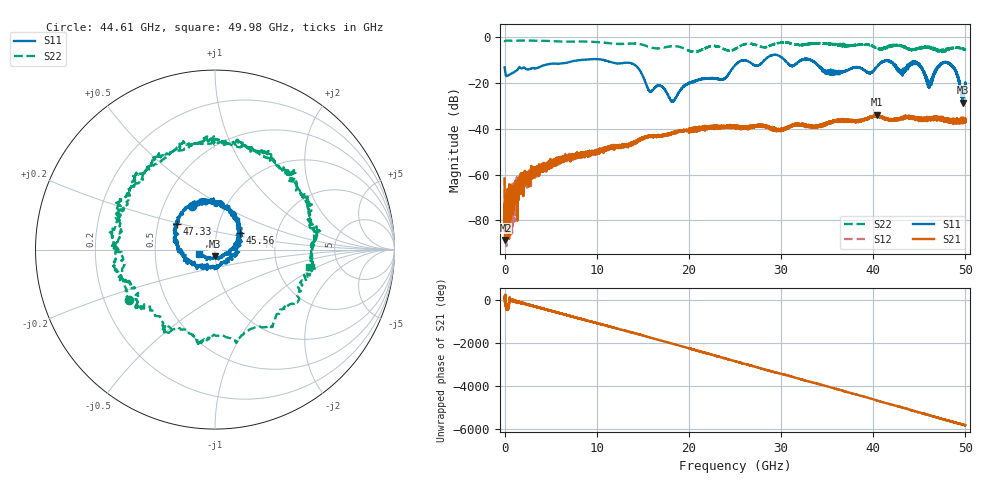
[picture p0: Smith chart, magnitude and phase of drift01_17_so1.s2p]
!Created with skrf (http://scikit-rf.org).
# Hz S RI R 50.0
!freq ReS11 ImS11 ReS21 ImS21 ReS12 ImS12 ReS22 ImS22
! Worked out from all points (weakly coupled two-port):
!   10001 points, 300 kHz to 50 GHz, reference 50 ohm
!   highest |S21| = -33.79 dB at 40.39 GHz (marker M1); lowest = -88.7 dB at 95.3 MHz (marker M2)
!   lowest |S11| = -28.5 dB at 49.72 GHz (marker M3), VSWR 1.08, Z = 50 - j3.76 ohm
!   |S11| at or under -10 dB: start of sweep to 8.049 GHz; 10.87 GHz to 25.99 GHz (15.12 GHz wide, 82.1 % of centre); 33.27 GHz to end of sweep (the widest 3 of 13)
!   |S22| runs from -6.5 to -1.4 dB; largest |S21 - S12| = 0.0046
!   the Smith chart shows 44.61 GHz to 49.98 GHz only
!   S11 on the Smith chart (normalised r, x): 44.61 GHz: 0.69, +0.36; 45.56 GHz: 1.30, +0.24; 47.33 GHz: 0.63, +0.19; 49.98 GHz: 0.84, -0.04
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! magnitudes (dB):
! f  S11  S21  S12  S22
! 300 kHz  -13.1  -61.9  -61.1  -2.1
! 95.3 MHz  -16.2  -88.7  -75.8  -1.5
! 275.3 MHz  -16.9  -71.2  -78.8  -1.4
! 3.13 GHz  -13.4  -59.0  -58.9  -1.4
! 8.335 GHz  -9.9  -50.6  -51.9  -1.8
! 13.78 GHz  -11.4  -47.2  -47.4  -2.7
! 15.73 GHz  -23.5  -43.5  -43.2  -4.3
! 16.67 GHz  -21.1  -42.9  -43.2  -4.8
! 18.25 GHz  -27.9  -42.0  -42.0  -3.9
! 25 GHz  -12.2  -38.5  -39.4  -5.1
! 33.34 GHz  -10.2  -38.9  -39.1  -2.6
! 35.11 GHz  -15.1  -37.7  -37.4  -2.8
! 40.39 GHz  -12.8  -33.8  -34.4  -4.8
! 41.67 GHz  -10.5  -36.2  -36.2  -4.3
! 44.61 GHz  -11.3  -35.0  -35.4  -5.1
! 45.56 GHz  -15.6  -35.7  -35.8  -4.2
! 46.14 GHz  -20.5  -35.5  -35.1  -4.4
! 47.33 GHz  -11.9  -35.3  -36.0  -6.4
! 48.7 GHz  -13.3  -36.4  -36.7  -4.6
! 49.72 GHz  -28.5  -35.9  -36.1  -5.1
! 49.98 GHz  -20.8  -37.3  -36.7  -5.4
! 50 GHz  -20.5  -36.7  -36.3  -5.4
